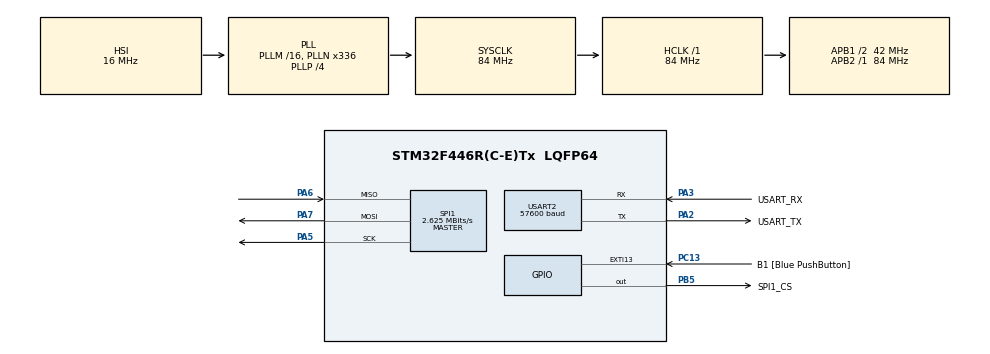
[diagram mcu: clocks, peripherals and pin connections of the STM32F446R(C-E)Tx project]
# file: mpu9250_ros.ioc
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Dma.Request0=USART2_RX
Dma.Request1=USART2_TX
Dma.USART2_RX.0.Direction=DMA_PERIPH_TO_MEMORY
Dma.USART2_RX.0.FIFOMode=DMA_FIFOMODE_DISABLE
Dma.USART2_RX.0.Instance=DMA1_Stream5
Dma.USART2_RX.0.MemDataAlignment=DMA_MDATAALIGN_BYTE
Dma.USART2_RX.0.MemInc=DMA_MINC_ENABLE
Dma.USART2_RX.0.Mode=DMA_CIRCULAR
Dma.USART2_RX.0.PeriphDataAlignment=DMA_PDATAALIGN_BYTE
Dma.USART2_RX.0.PeriphInc=DMA_PINC_DISABLE
Dma.USART2_RX.0.Priority=DMA_PRIORITY_LOW
Dma.USART2_TX.1.Direction=DMA_MEMORY_TO_PERIPH
Dma.USART2_TX.1.FIFOMode=DMA_FIFOMODE_DISABLE
Dma.USART2_TX.1.Instance=DMA1_Stream6
Dma.USART2_TX.1.MemDataAlignment=DMA_MDATAALIGN_BYTE
Dma.USART2_TX.1.MemInc=DMA_MINC_ENABLE
Dma.USART2_TX.1.Mode=DMA_NORMAL
Dma.USART2_TX.1.PeriphDataAlignment=DMA_PDATAALIGN_BYTE
Dma.USART2_TX.1.PeriphInc=DMA_PINC_DISABLE
Dma.USART2_TX.1.Priority=DMA_PRIORITY_LOW
Mcu.Family=STM32F4
Mcu.Name=STM32F446R(C-E)Tx
Mcu.Package=LQFP64
NVIC.DMA1_Stream5_IRQn=true\:0\:0\:false\:false\:true\:false\:true\:true
NVIC.DMA1_Stream6_IRQn=true\:0\:0\:false\:false\:true\:false\:true\:true
NVIC.PriorityGroup=NVIC_PRIORITYGROUP_0
NVIC.USART2_IRQn=true\:0\:0\:false\:false\:true\:true\:true\:true
PA13.GPIO_Label=TMS
PA13.Mode=Serial_Wire
PA13.Signal=SYS_JTMS-SWDIO
PA14.GPIO_Label=TCK
PA14.Mode=Serial_Wire
PA14.Signal=SYS_JTCK-SWCLK
PA2.GPIO_Label=USART_TX
PA2.Mode=Asynchronous
PA2.Signal=USART2_TX
PA3.GPIO_Label=USART_RX
PA3.Mode=Asynchronous
PA3.Signal=USART2_RX
PA5.Mode=Full_Duplex_Master
PA5.Signal=SPI1_SCK
PA6.Mode=Full_Duplex_Master
PA6.Signal=SPI1_MISO
PA7.Mode=Full_Duplex_Master
PA7.Signal=SPI1_MOSI
PB3.GPIO_Label=SWO
PB3.Signal=SYS_JTDO-SWO
PB5.GPIO_Label=SPI1_CS
PB5.Signal=GPIO_Output
PC13.GPIO_Label=B1 [Blue PushButton]
PC13.GPIO_ModeDefaultEXTI=GPIO_MODE_IT_FALLING
PC13.Signal=GPXTI13
PC14-OSC32_IN.Mode=LSE-External-Oscillator
PC14-OSC32_IN.Signal=RCC_OSC32_IN
PC15-OSC32_OUT.Mode=LSE-External-Oscillator
PC15-OSC32_OUT.Signal=RCC_OSC32_OUT
PH0-OSC_IN.Mode=HSE-External-Oscillator
PH0-OSC_IN.Signal=RCC_OSC_IN
PH1-OSC_OUT.Mode=HSE-External-Oscillator
PH1-OSC_OUT.Signal=RCC_OSC_OUT
ProjectManager.HeapSize=0x200
ProjectManager.StackSize=0x400
ProjectManager.TargetToolchain=STM32CubeIDE
RCC.48MHZClocksFreq_Value=84000000
RCC.AHBFreq_Value=84000000
RCC.APB1CLKDivider=RCC_HCLK_DIV2
RCC.APB1Freq_Value=42000000
RCC.APB1TimFreq_Value=84000000
RCC.APB2Freq_Value=84000000
RCC.APB2TimFreq_Value=84000000
RCC.CortexFreq_Value=84000000
RCC.FLatency-AdvancedSettings=FLASH_LATENCY_2
RCC.HCLKFreq_Value=84000000
RCC.HSE_VALUE=8000000
RCC.HSI_VALUE=16000000
RCC.PLLN=336
RCC.PLLP=RCC_PLLP_DIV4
RCC.SYSCLKFreq_VALUE=84000000
RCC.SYSCLKSource=RCC_SYSCLKSOURCE_PLLCLK
RCC.USBFreq_Value=168000000
RCC.VCOOutputFreq_Value=336000000
SPI1.BaudRatePrescaler=SPI_BAUDRATEPRESCALER_32
SPI1.CLKPhase=SPI_PHASE_2EDGE
SPI1.CLKPolarity=SPI_POLARITY_HIGH
SPI1.CalculateBaudRate=2.625 MBits/s
SPI1.Direction=SPI_DIRECTION_2LINES
SPI1.Mode=SPI_MODE_MASTER
SPI1.VirtualType=VM_MASTER
USART2.BaudRate=57600
USART2.VirtualMode=VM_ASYNC
board=NUCLEO-F446RE

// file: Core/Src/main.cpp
/* USER CODE BEGIN Header */
/**
  ******************************************************************************
  * @file           : main.c
  * @brief          : Main program body
  ******************************************************************************
  * @attention
  *
  * Copyright (c) 2023 STMicroelectronics.
  * All rights reserved.
  *
  * This software is licensed under terms that can be found in the LICENSE file
  * in the root directory of this software component.
  * If no LICENSE file comes with this software, it is provided AS-IS.
  *
  ******************************************************************************
  */
/* USER CODE END Header */
#include "main.h"
#include "spi.h"
#include "usart.h"
#include "gpio.h"
#include "dma.h"
/* USER CODE BEGIN Includes */

#include "MPU9250.h"
#include <stdio.h>

#include "ros.h"
#include "sensor_msgs/Imu.h"

/* USER CODE END Includes */

/* USER CODE BEGIN PV */

ros::NodeHandle nh;

sensor_msgs::Imu imu_msg;
ros::Publisher imu_pub("imuData", &imu_msg);

/* USER CODE END PV */

void SystemClock_Config(void);

/* USER CODE BEGIN 0 */

void HAL_UART_TxCpltCallback(UART_HandleTypeDef *huart){
  nh.getHardware()->flush();
}

void HAL_UART_RxCpltCallback(UART_HandleTypeDef *huart){
  nh.getHardware()->reset_rbuf();
}

void setupRos(void)
{
	nh.initNode();
	nh.advertise(imu_pub);
}

/* USER CODE END 0 */

int main(void)
{
  /* USER CODE BEGIN 1 */

	int16_t AccData[3], GyroData[3], MagData[3];

  /* USER CODE END 1 */

  /* MCU Configuration--------------------------------------------------------*/

  /* Reset of all peripherals, Initializes the Flash interface and the Systick. */
  HAL_Init();

  /* Configure the system clock */
  SystemClock_Config();

  /* Initialize all configured peripherals */
  MX_GPIO_Init();
  MX_DMA_Init();
  MX_USART2_UART_Init();
  MX_SPI1_Init();
  /* USER CODE BEGIN 2 */

  	  MPU9250_Init();
  	  setupRos();

  /* USER CODE END 2 */

  /* Infinite loop */
  while (1)
  {

    /* USER CODE BEGIN 3 */

	  MPU9250_GetData(AccData, GyroData, MagData);
	  imu_msg.linear_acceleration.x = (double)AccData[0]*0.001;
	  imu_msg.linear_acceleration.y = (double)AccData[1]*0.001;
	  imu_msg.linear_acceleration.z = (double)AccData[2]*0.001;

	  imu_msg.angular_velocity.x = (double)GyroData[0]*0.001;
	  imu_msg.angular_velocity.y = (double)GyroData[1]*0.001;
	  imu_msg.angular_velocity.z = (double)GyroData[2]*0.001;

	  imu_msg.orientation_covariance[0] = -1;
	  imu_msg.angular_velocity_covariance[0] = -1;
	  imu_msg.linear_acceleration_covariance[0] = -1;

	  imu_pub.publish(&imu_msg);
	  nh.spinOnce();
	  printf("%d\r\n", AccData[0]);
	  HAL_Delay(100);
  }
  /* USER CODE END 3 */
}

void SystemClock_Config(void)
{
  RCC_OscInitTypeDef RCC_OscInitStruct = {0};
  RCC_ClkInitTypeDef RCC_ClkInitStruct = {0};

  /** Configure the main internal regulator output voltage
  */
  __HAL_RCC_PWR_CLK_ENABLE();
  __HAL_PWR_VOLTAGESCALING_CONFIG(PWR_REGULATOR_VOLTAGE_SCALE3);

  /** Initializes the RCC Oscillators according to the specified parameters
  * in the RCC_OscInitTypeDef structure.
  */
  RCC_OscInitStruct.OscillatorType = RCC_OSCILLATORTYPE_HSI;
  RCC_OscInitStruct.HSIState = RCC_HSI_ON;
  RCC_OscInitStruct.HSICalibrationValue = RCC_HSICALIBRATION_DEFAULT;
  RCC_OscInitStruct.PLL.PLLState = RCC_PLL_ON;
  RCC_OscInitStruct.PLL.PLLSource = RCC_PLLSOURCE_HSI;
  RCC_OscInitStruct.PLL.PLLM = 16;
  RCC_OscInitStruct.PLL.PLLN = 336;
  RCC_OscInitStruct.PLL.PLLP = RCC_PLLP_DIV4;
  RCC_OscInitStruct.PLL.PLLQ = 2;
  RCC_OscInitStruct.PLL.PLLR = 2;
  if (HAL_RCC_OscConfig(&RCC_OscInitStruct) != HAL_OK)
  {
    Error_Handler();
  }

  /** Initializes the CPU, AHB and APB buses clocks
  */
  RCC_ClkInitStruct.ClockType = RCC_CLOCKTYPE_HCLK|RCC_CLOCKTYPE_SYSCLK
                              |RCC_CLOCKTYPE_PCLK1|RCC_CLOCKTYPE_PCLK2;
  RCC_ClkInitStruct.SYSCLKSource = RCC_SYSCLKSOURCE_PLLCLK;
  RCC_ClkInitStruct.AHBCLKDivider = RCC_SYSCLK_DIV1;
  RCC_ClkInitStruct.APB1CLKDivider = RCC_HCLK_DIV2;
  RCC_ClkInitStruct.APB2CLKDivider = RCC_HCLK_DIV1;

  if (HAL_RCC_ClockConfig(&RCC_ClkInitStruct, FLASH_LATENCY_2) != HAL_OK)
  {
    Error_Handler();
  }
}

void Error_Handler(void)
{
  __disable_irq();
  while (1)
  {
  }
}
